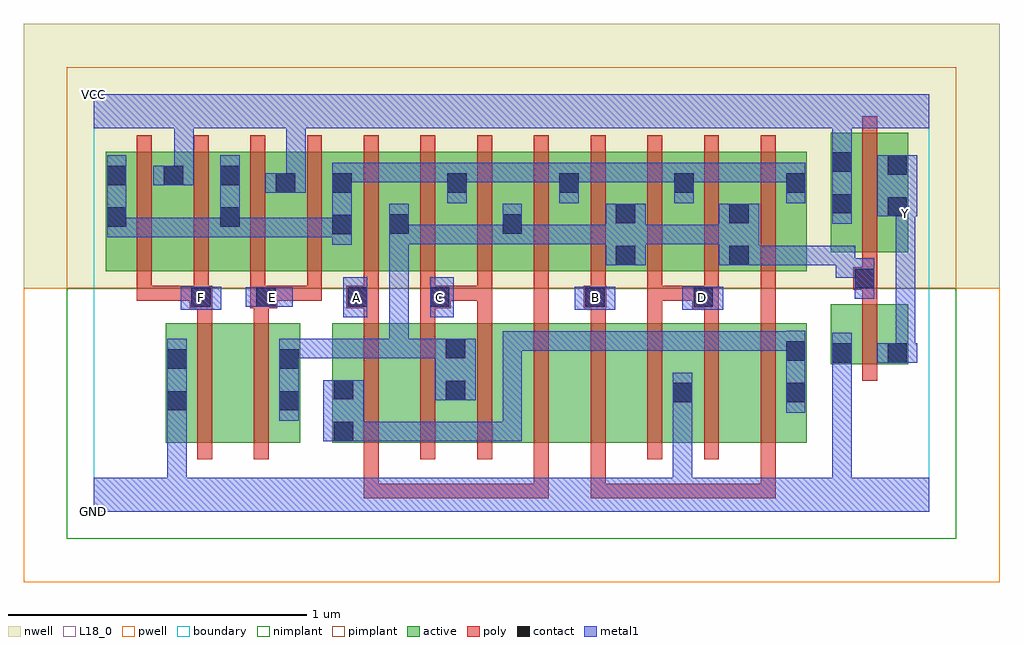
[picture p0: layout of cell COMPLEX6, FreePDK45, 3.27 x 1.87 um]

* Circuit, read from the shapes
.subckt COMPLEX6 A B C D E F GND VCC Y
M1 n1 F GND VSUBS nfet w=0.4u l=0.05u
M2 n2 E n1 VSUBS nfet w=0.4u l=0.05u
M3 n3 A n4 VSUBS nfet w=0.4u l=0.05u
M4 n2 C n3 VSUBS nfet w=0.4u l=0.05u
M5 n5 C n2 VSUBS nfet w=0.4u l=0.05u
M6 n6 A n5 VSUBS nfet w=0.4u l=0.05u
M7 n7 B n6 VSUBS nfet w=0.4u l=0.05u
M8 GND D n7 VSUBS nfet w=0.4u l=0.05u
M9 n8 D GND VSUBS nfet w=0.4u l=0.05u
M10 n4 B n8 VSUBS nfet w=0.4u l=0.05u
M11 Y n2 GND VSUBS nfet w=0.2u l=0.05u
M12 VCC F n9 n10 pfet w=0.4u l=0.05u m=2
M13 VCC E n9 n10 pfet w=0.4u l=0.05u m=2
M14 n2 A n9 n10 pfet w=0.4u l=0.05u m=2
M15 n9 C n2 n10 pfet w=0.4u l=0.05u m=2
M16 n2 B n9 n10 pfet w=0.4u l=0.05u m=2
M17 n9 D n2 n10 pfet w=0.4u l=0.05u m=2
M18 Y n2 VCC n10 pfet w=0.4u l=0.05u
.ends

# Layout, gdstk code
import gdstk
lib = gdstk.Library(unit=1e-6, precision=1e-09)
def R(c, l, rs):  # rectangles x0, y0, x1, y1
    for r in rs: c.add(gdstk.rectangle(r[:2], r[2:], *l))
def A(c, l, x, y, w, h, nx, ny, dx, dy):  # array of equal rectangles
    R(c, l, [(x+i*dx, y+j*dy, x+i*dx+w, y+j*dy+h) for i in range(nx) for j in range(ny)])
active = (1, 0)
pwell = (2, 0)
nwell = (3, 0)
nimplant = (4, 0)
pimplant = (5, 0)
poly = (9, 0)
contact = (10, 0)
metal1 = (11, 0)
L18_0 = (18, 0)
boundary = (235, 0)

complex6 = lib.new_cell('COMPLEX6')
A(complex6, active, 0.42, 0.807, 0.26, 0.4, 3, 1, 0.76, 0)
R(complex6, active, [(0.242,0.232,0.317,0.632), (0.242,0.232,0.467,0.632), (0.467,0.232,0.692,0.632), (0.8,0.232,0.875,0.632), (0.8,0.232,1.025,0.632), (1.025,0.232,1.25,0.632), (1.175,0.232,1.405,0.632), (1.405,0.232,1.595,0.632), (1.595,0.232,1.785,0.632), (1.785,0.232,2.01,0.632), (1.935,0.232,2.165,0.632), (1.935,0.232,2.01,0.617), (2.165,0.232,2.39,0.632), (2.315,0.232,2.39,0.632), (0.617,0.235,0.692,0.632), (1.175,0.295,1.25,0.617), (2.47,0.495,2.545,0.695), (2.47,0.495,2.73,0.695), (2.655,0.495,2.73,0.695), (0.04,0.807,0.115,1.2), (0.04,0.807,0.305,1.207), (0.23,0.807,0.495,1.207), (0.42,0.807,0.495,1.2), (0.605,0.807,0.87,1.207), (0.795,0.807,1.06,1.207), (0.985,0.807,1.255,1.207), (1.365,0.807,1.63,1.207), (1.365,0.807,1.44,1.07), (1.555,0.807,1.82,1.207), (1.745,0.807,2.015,1.207), (2.125,0.807,2.39,1.207), (2.125,0.807,2.2,1.07), (2.315,0.807,2.39,1.2), (1.745,0.815,1.82,1.07), (0.985,0.84,1.06,1.07), (0.795,0.847,0.87,1.2), (1.555,0.847,1.63,1.2), (2.47,0.87,2.545,1.27), (2.47,0.87,2.73,1.27), (2.655,0.87,2.73,1.2), (0.23,0.907,0.305,1.205), (0.605,0.907,0.68,1.205), (1.18,0.907,1.255,1.2), (1.94,0.907,2.015,1.2)])
R(complex6, pwell, [(-0.235,-0.235,3.035,0.75)])
R(complex6, nwell, [(-0.235,0.75,3.035,1.635)])
R(complex6, nimplant, [(-0.09,-0.09,2.89,0.75)])
R(complex6, pimplant, [(-0.09,0.75,2.89,1.49)])
A(complex6, poly, 0.905, 0.177, 0.05, 0.51, 8, 1, 0.19, 0)
A(complex6, poly, 1.475, 0.637, 0.05, 0.12, 3, 1, 0.38, 0)
A(complex6, poly, 0.145, 0.707, 0.05, 0.095, 12, 1, 0.19, 0)
A(complex6, poly, 0.145, 0.752, 0.05, 0.51, 12, 1, 0.19, 0)
R(complex6, poly, [(0.905,0.045,0.955,0.095), (0.905,0.045,0.955,0.095), (0.905,0.045,0.955,0.095), (0.905,0.045,0.955,0.227), (0.905,0.045,1.087,0.095), (1.037,0.045,1.087,0.095), (1.037,0.045,1.087,0.095), (1.037,0.045,1.087,0.095), (1.037,0.045,1.33,0.095), (1.28,0.045,1.33,0.095), (1.28,0.045,1.33,0.095), (1.28,0.045,1.33,0.095), (1.28,0.045,1.525,0.095), (1.475,0.045,1.525,0.095), (1.475,0.045,1.525,0.227), (1.665,0.045,1.715,0.095), (1.665,0.045,1.715,0.095), (1.665,0.045,1.715,0.095), (1.665,0.045,1.715,0.227), (1.665,0.045,1.922,0.095), (1.872,0.045,1.922,0.095), (1.872,0.045,1.922,0.095), (1.872,0.045,1.922,0.095), (1.872,0.045,2.152,0.095), (2.102,0.045,2.152,0.095), (2.102,0.045,2.285,0.095), (2.235,0.045,2.285,0.095), (2.235,0.045,2.285,0.095), (2.235,0.045,2.285,0.095), (2.235,0.045,2.285,0.227), (0.347,0.177,0.397,0.687), (0.537,0.177,0.587,0.687), (2.575,0.44,2.625,0.75), (0.347,0.637,0.397,0.732), (0.537,0.637,0.587,0.732), (0.905,0.637,0.955,0.732), (1.095,0.637,1.145,0.732), (1.285,0.637,1.335,0.757), (1.665,0.637,1.715,0.732), (2.045,0.637,2.095,0.732), (0.322,0.682,0.397,0.757), (0.525,0.682,0.615,0.757), (0.847,0.682,0.955,0.757), (1.095,0.682,1.197,0.757), (1.642,0.682,1.717,0.757), (2.005,0.682,2.095,0.757), (2.575,0.7,2.625,0.795), (0.145,0.707,0.195,0.757), (0.145,0.707,0.372,0.757), (0.322,0.707,0.372,0.757), (0.322,0.707,0.372,0.757), (0.565,0.707,0.765,0.757), (0.715,0.707,0.765,0.757), (0.715,0.707,0.765,0.757), (0.715,0.707,0.765,0.757), (1.147,0.707,1.197,0.757), (1.147,0.707,1.197,0.757), (1.147,0.707,1.335,0.757), (1.285,0.707,1.335,0.757), (1.475,0.707,1.525,0.757), (1.855,0.707,1.905,0.757), (1.855,0.707,1.905,0.757), (1.855,0.707,1.905,0.757), (1.855,0.707,2.055,0.757), (2.235,0.707,2.285,0.757), (2.545,0.745,2.625,0.82), (2.575,0.77,2.625,0.865), (2.575,0.815,2.625,1.325)])
A(complex6, contact, 0.045, 1.095, 0.065, 0.065, 3, 1, 0.19, 0)
R(complex6, contact, [(0.805,0.237,0.87,0.302), (0.247,0.34,0.312,0.405), (0.622,0.34,0.687,0.405), (1.94,0.367,2.005,0.432), (2.32,0.367,2.385,0.432), (1.18,0.375,1.245,0.44), (0.805,0.377,0.87,0.442), (0.247,0.48,0.312,0.545), (0.622,0.48,0.687,0.545), (2.475,0.5,2.54,0.565), (2.66,0.5,2.725,0.565), (2.32,0.507,2.385,0.572), (1.18,0.515,1.245,0.58), (0.327,0.687,0.392,0.752), (0.545,0.687,0.61,0.752), (0.852,0.687,0.917,0.752), (1.127,0.687,1.192,0.752), (1.647,0.687,1.712,0.752), (2.01,0.687,2.075,0.752), (2.55,0.75,2.615,0.815), (1.75,0.827,1.815,0.892), (2.13,0.827,2.195,0.892), (0.8,0.93,0.865,0.995), (0.99,0.932,1.055,0.997), (1.37,0.932,1.435,0.997), (0.045,0.955,0.11,1.02), (0.425,0.955,0.49,1.02), (1.75,0.967,1.815,1.032), (2.13,0.967,2.195,1.032), (2.66,0.99,2.725,1.055), (2.475,1,2.54,1.065), (0.61,1.07,0.675,1.135), (0.8,1.07,0.865,1.135), (1.185,1.07,1.25,1.135), (1.56,1.07,1.625,1.135), (1.945,1.07,2.01,1.135), (2.32,1.07,2.385,1.135), (2.66,1.13,2.725,1.195), (2.475,1.14,2.54,1.205)])
R(complex6, metal1, [(0,0,2.8,0.115), (0.247,0.05,0.312,0.115), (0.247,0.05,0.312,0.115), (0.247,0.05,0.312,0.37), (1.94,0.05,2.005,0.397), (2.475,0.05,2.54,0.115), (2.475,0.05,2.54,0.115), (2.475,0.05,2.54,0.115), (2.475,0.05,2.54,0.115), (2.475,0.05,2.54,0.115), (2.475,0.05,2.54,0.115), (2.475,0.05,2.54,0.53), (0.77,0.237,0.905,0.442), (0.84,0.237,0.905,0.302), (0.84,0.237,0.905,0.302), (0.84,0.237,1.072,0.302), (1.007,0.237,1.072,0.302), (1.007,0.237,1.072,0.302), (1.007,0.237,1.072,0.302), (1.007,0.237,1.21,0.302), (1.145,0.237,1.21,0.302), (1.145,0.237,1.21,0.302), (1.145,0.237,1.21,0.302), (1.145,0.237,1.435,0.302), (1.37,0.237,1.435,0.302), (1.37,0.237,1.435,0.605), (0.247,0.305,0.312,0.58), (0.622,0.305,0.687,0.58), (1.94,0.332,2.005,0.397), (1.94,0.332,2.005,0.397), (1.94,0.332,2.005,0.467), (2.32,0.332,2.385,0.607), (1.145,0.375,1.28,0.58), (2.475,0.465,2.54,0.6), (2.625,0.5,2.76,0.565), (2.687,0.5,2.752,0.997), (0.622,0.515,0.687,0.58), (0.622,0.515,0.687,0.58), (0.622,0.515,0.917,0.58), (0.852,0.515,0.917,0.58), (0.852,0.515,0.917,0.58), (0.852,0.515,0.917,0.58), (0.852,0.515,1.055,0.58), (0.99,0.515,1.055,0.58), (0.99,0.515,1.055,0.58), (0.99,0.515,1.055,0.58), (0.99,0.515,1.055,0.58), (0.99,0.515,1.055,0.58), (0.99,0.515,1.21,0.58), (0.99,0.515,1.055,0.962), (1.37,0.54,1.435,0.605), (1.37,0.54,1.435,0.605), (1.37,0.54,1.435,0.605), (1.37,0.54,1.572,0.605), (1.507,0.54,1.572,0.605), (1.507,0.54,1.572,0.605), (1.507,0.54,1.572,0.605), (1.507,0.54,1.867,0.605), (1.802,0.54,1.867,0.605), (1.802,0.54,1.867,0.605), (1.802,0.54,1.867,0.605), (1.802,0.54,2.005,0.605), (1.94,0.54,2.005,0.605), (1.94,0.54,2.005,0.605), (1.94,0.54,2.005,0.605), (1.94,0.54,2.247,0.605), (2.182,0.54,2.247,0.605), (2.182,0.54,2.385,0.605), (2.32,0.54,2.385,0.605), (2.32,0.54,2.385,0.605), (0.837,0.652,0.917,0.787), (1.127,0.652,1.207,0.787), (0.292,0.677,0.427,0.755), (1.612,0.677,1.747,0.755), (1.972,0.677,2.11,0.755), (0.51,0.687,0.667,0.752), (2.55,0.715,2.615,0.85), (2.487,0.785,2.552,0.85), (2.487,0.785,2.615,0.85), (2.487,0.785,2.552,0.892), (1.715,0.827,1.85,1.032), (2.095,0.827,2.23,1.032), (2.165,0.827,2.402,0.892), (2.337,0.827,2.402,0.892), (2.337,0.827,2.402,0.892), (2.337,0.827,2.402,0.892), (2.337,0.827,2.552,0.892), (2.487,0.827,2.552,0.892), (0.8,0.895,0.865,1.17), (0.99,0.897,1.055,0.962), (0.99,0.897,1.055,0.962), (0.99,0.897,1.055,1.032), (0.99,0.897,1.21,0.962), (1.145,0.897,1.21,0.962), (1.145,0.897,1.21,0.962), (1.145,0.897,1.21,0.962), (1.145,0.897,1.435,0.962), (1.37,0.897,1.435,0.962), (1.37,0.897,1.435,0.962), (1.37,0.897,1.435,1.032), (1.37,0.897,1.595,0.962), (1.53,0.897,1.595,0.962), (1.53,0.897,1.595,0.962), (1.53,0.897,1.595,0.962), (1.53,0.897,1.78,0.962), (1.785,0.897,1.85,0.962), (1.785,0.897,1.85,0.962), (1.785,0.897,2.022,0.962), (1.957,0.897,2.022,0.962), (1.957,0.897,2.16,0.962), (2.095,0.897,2.16,0.962), (2.095,0.897,2.16,0.962), (0.045,0.92,0.11,0.985), (0.045,0.92,0.11,0.985), (0.045,0.92,0.11,1.195), (0.045,0.92,0.352,0.985), (0.287,0.92,0.352,0.985), (0.287,0.92,0.352,0.985), (0.287,0.92,0.352,0.985), (0.287,0.92,0.49,0.985), (0.425,0.92,0.49,0.985), (0.425,0.92,0.49,0.985), (0.425,0.92,0.49,1.195), (0.425,0.92,0.627,0.985), (0.562,0.92,0.627,0.985), (0.562,0.92,0.627,0.985), (0.562,0.92,0.627,0.985), (0.562,0.92,0.865,0.985), (2.687,0.932,2.752,1.067), (2.475,0.965,2.54,1.24), (2.625,0.99,2.76,1.195), (2.687,0.99,2.752,1.055), (1.185,1.035,1.25,1.17), (1.56,1.035,1.625,1.17), (1.945,1.035,2.01,1.17), (2.32,1.035,2.385,1.17), (0.575,1.07,0.71,1.135), (0.645,1.07,0.71,1.35), (0.2,1.095,0.335,1.16), (0.27,1.095,0.335,1.35), (0.8,1.105,0.865,1.17), (0.8,1.105,0.865,1.17), (0.8,1.105,0.865,1.17), (0.8,1.105,0.865,1.17), (0.8,1.105,1.072,1.17), (1.007,1.105,1.072,1.17), (1.007,1.105,1.072,1.17), (1.007,1.105,1.072,1.17), (1.007,1.105,1.25,1.17), (1.185,1.105,1.25,1.17), (1.185,1.105,1.25,1.17), (1.185,1.105,1.417,1.17), (1.352,1.105,1.417,1.17), (1.352,1.105,1.417,1.17), (1.352,1.105,1.417,1.17), (1.352,1.105,1.625,1.17), (1.56,1.105,1.625,1.17), (1.56,1.105,1.625,1.17), (1.56,1.105,1.762,1.17), (1.697,1.105,1.762,1.17), (1.697,1.105,1.762,1.17), (1.697,1.105,1.762,1.17), (1.697,1.105,2.01,1.17), (1.945,1.105,2.247,1.17), (2.182,1.105,2.247,1.17), (2.182,1.105,2.247,1.17), (2.182,1.105,2.247,1.17), (2.182,1.105,2.385,1.17), (2.32,1.105,2.385,1.17), (2.32,1.105,2.385,1.17), (2.475,1.175,2.54,1.35), (0,1.285,2.8,1.4)])
A(complex6, L18_0, 0.567, 0.687, 0.065, 0.065, 3, 1, 0.28, 0)
R(complex6, L18_0, [(0,0,2.8,0.115), (0.247,0.05,0.312,0.115), (0.247,0.05,0.312,0.115), (0.247,0.05,0.312,0.37), (1.94,0.05,2.005,0.397), (2.475,0.05,2.54,0.115), (2.475,0.05,2.54,0.115), (2.475,0.05,2.54,0.115), (2.475,0.05,2.54,0.115), (2.475,0.05,2.54,0.115), (2.475,0.05,2.54,0.115), (2.475,0.05,2.54,0.53), (0.247,0.305,0.312,0.58), (1.94,0.332,2.005,0.397), (1.94,0.332,2.005,0.397), (1.94,0.332,2.005,0.467), (2.475,0.465,2.54,0.6), (2.625,0.5,2.76,0.565), (2.687,0.5,2.752,0.997), (0.837,0.652,0.917,0.787), (1.127,0.652,1.207,0.787), (0.292,0.677,0.427,0.755), (1.612,0.677,1.747,0.755), (1.972,0.677,2.11,0.755), (0.327,0.687,0.392,0.752), (0.51,0.687,0.667,0.752), (1.647,0.687,1.712,0.752), (2.007,0.687,2.072,0.752), (2.687,0.932,2.752,1.067), (2.475,0.965,2.54,1.24), (2.687,0.967,2.752,1.032), (2.625,0.99,2.76,1.195), (2.687,0.99,2.752,1.055), (0.575,1.07,0.71,1.135), (0.645,1.07,0.71,1.35), (0.2,1.095,0.335,1.16), (0.27,1.095,0.335,1.35), (2.475,1.175,2.54,1.35), (0,1.285,2.8,1.4)])
R(complex6, boundary, [(0,0,2.8,1.4)])
complex6.add(gdstk.Label('A', (0.88,0.72), layer=11, texttype=0))
complex6.add(gdstk.Label('B', (1.68,0.72), layer=11, texttype=0))
complex6.add(gdstk.Label('C', (1.16,0.72), layer=11, texttype=0))
complex6.add(gdstk.Label('D', (2.04,0.72), layer=11, texttype=0))
complex6.add(gdstk.Label('E', (0.6,0.72), layer=11, texttype=0))
complex6.add(gdstk.Label('F', (0.36,0.72), layer=11, texttype=0))
complex6.add(gdstk.Label('Y', (2.72,1), layer=11, texttype=0))
complex6.add(gdstk.Label('VCC', (0,1.4), layer=11, texttype=0))
complex6.add(gdstk.Label('GND', (0,0), layer=11, texttype=0))

lib.write_gds('COMPLEX6.gds')
